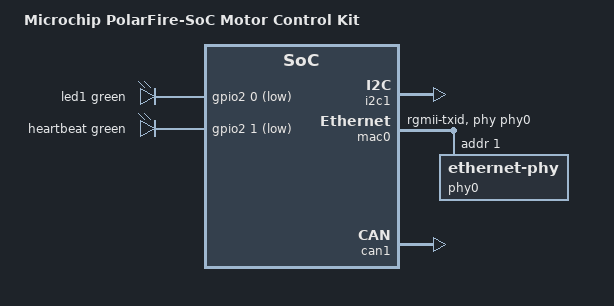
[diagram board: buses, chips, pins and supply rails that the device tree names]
// SPDX-License-Identifier: (GPL-2.0 OR MIT)
/* Copyright (c) 2026 Microchip Technology Inc */

/dts-v1/;

#include <dt-bindings/gpio/gpio.h>
#include <dt-bindings/leds/common.h>
#include "mpfs.dtsi"
#include "mpfs-motor-control-kit-fabric.dtsi"
#include "mpfs095-som.dtsi"

/ {
	#address-cells = <2>;
	#size-cells = <2>;
	model = "Microchip PolarFire-SoC Motor Control Kit";
	compatible = "microchip,mpfs-motor-control-kit-base-rtl-v2601",
		     "microchip,mpfs-motor-control-kit",
		     "microchip,mpfs095-som",
		     "microchip,mpfs";

	aliases {
		serial0 = &mmuart0;
	};

	chosen {
		stdout-path = "serial0:115200n8";
	};

	leds {
		compatible = "gpio-leds";

		led-1 {
			gpios = <&gpio2 0 GPIO_ACTIVE_LOW>;
			color = <LED_COLOR_ID_GREEN>;
			label = "led1";
		};

		led-2 {
			gpios = <&gpio2 1 GPIO_ACTIVE_LOW>;
			color = <LED_COLOR_ID_GREEN>;
			linux,default-trigger = "heartbeat";
			label = "heartbeat";
			default-state = "off";
		};
	};
};

&gpio2 {
	status = "okay";
};

&i2c1 {
	status = "okay";
};

&mac0 {
	dma-noncoherent;
	status = "okay";
	phy-mode = "rgmii-txid";
	phy-handle = <&phy0>;

	phy0: ethernet-phy@1 {
		reg = <0x1>;
	};
};

&mmuart0 {
	status = "okay";
};

&mmuart1 {
	status = "okay";
};

&can1 {
	status = "okay";
};

